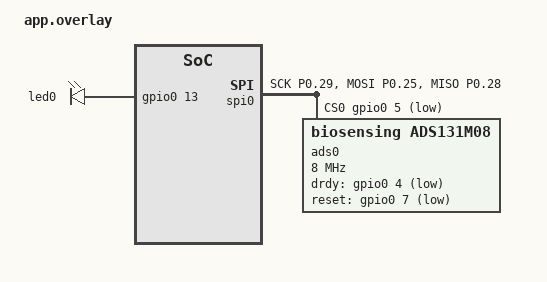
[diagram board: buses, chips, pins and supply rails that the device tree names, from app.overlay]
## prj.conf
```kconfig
# bt832a_min: minimal preset. This is the complete configuration.
# Select nrf52dk/nrf52810 with NCS v3.3.1 and sysbuild.
# No EXTRA_CONF_FILE or other custom build arguments are needed.

CONFIG_GPIO=y
CONFIG_BT=y
CONFIG_BT_PERIPHERAL=y
CONFIG_BT_MAX_CONN=1
CONFIG_LOG=y
CONFIG_LOG_DEFAULT_LEVEL=3
CONFIG_USE_SEGGER_RTT=y
CONFIG_CONSOLE=y
CONFIG_UART_CONSOLE=n
CONFIG_RTT_CONSOLE=y
CONFIG_LOG_BACKEND_UART=n
CONFIG_LOG_BACKEND_RTT=n
CONFIG_SHELL_BACKEND_SERIAL=n
CONFIG_SHELL_VT100_COLORS=n
CONFIG_SHELL_CMDS_RESIZE=n
CONFIG_REBOOT=y
CONFIG_SERIAL=n
# Modules do not require an external 32.768 kHz crystal for bring-up.
CONFIG_CLOCK_CONTROL_NRF_K32SRC_RC=y
CONFIG_CLOCK_CONTROL_NRF_K32SRC_XTAL=n

# Historical nrf52832A directory actually selected nRF52810 (192K/24K).
CONFIG_BIO_PROFILE="BT832A / nRF52810 legacy"
CONFIG_BT_DEVICE_NAME="BT832A-v3"
CONFIG_SHELL=n
CONFIG_SHELL_BACKEND_RTT=n
CONFIG_BIO_TX_DEPTH=2
CONFIG_BIO_COMMAND_DEPTH=2
CONFIG_BIO_REPLY_DEPTH=1
CONFIG_BIO_ADS_STACK=1024
CONFIG_BT_RX_STACK_SIZE=1024
CONFIG_MAIN_STACK_SIZE=1536
CONFIG_SYSTEM_WORKQUEUE_STACK_SIZE=1536
CONFIG_BT_RECV_WORKQ_SYS=y
CONFIG_LOG_MODE_MINIMAL=y
CONFIG_SEGGER_RTT_BUFFER_SIZE_UP=256
CONFIG_ISR_STACK_SIZE=1024
# Small ATT buffers: use the framed stream, not the 227-byte legacy notification.
CONFIG_BT_L2CAP_TX_MTU=64
CONFIG_BT_BUF_ACL_RX_SIZE=68
CONFIG_BT_BUF_ACL_TX_SIZE=68
CONFIG_BT_BUF_EVT_RX_COUNT=3
CONFIG_BT_BUF_EVT_DISCARDABLE_COUNT=1
CONFIG_BT_BUF_ACL_TX_COUNT=1
CONFIG_BT_L2CAP_TX_BUF_COUNT=2
CONFIG_BT_L2CAP_TX_FRAG_COUNT=1
CONFIG_BT_ATT_TX_COUNT=1
CONFIG_BT_CTLR_SDC_TX_PACKET_COUNT=1
CONFIG_BT_CTLR_SDC_RX_PACKET_COUNT=1
CONFIG_HEAP_MEM_POOL_SIZE=512
CONFIG_SIZE_OPTIMIZATIONS=y

# Built-in minimal feature.
CONFIG_BIO_ADS=n
CONFIG_BIO_I2C_SENSORS=n
CONFIG_BIO_BEACONS=n
```

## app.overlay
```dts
// bt832a_min: complete carrier overlay; automatically loaded by Zephyr.
#include <zephyr/dt-bindings/gpio/gpio.h>
#include <zephyr/dt-bindings/pinctrl/nrf-pinctrl.h>
/ { aliases { bio-led = &led0; ads0 = &ads0; }; };
&led0 { gpios = <&gpio0 13 GPIO_ACTIVE_HIGH>; };
&led1 { status = "disabled"; };
&led2 { status = "disabled"; };
&led3 { status = "disabled"; };
&button0 { status = "disabled"; };
&button1 { status = "disabled"; };
&button2 { status = "disabled"; };
&button3 { status = "disabled"; };
&uart0 { status = "disabled"; };
&i2c0 { status = "disabled"; };
&adc { status = "disabled"; };
&gpio0 { /delete-property/ gpio-reserved-ranges; };
&spi0 {
	// Polling SPI also works on nRF52810, which has no SPIM EasyDMA.
	compatible = "nordic,nrf-spi";
	status = "okay";
	pinctrl-0 = <&bio_spi_default>;
	pinctrl-1 = <&bio_spi_sleep>;
	pinctrl-names = "default", "sleep";
	cs-gpios = <&gpio0 5 GPIO_ACTIVE_LOW>;
	ads0: adc@0 {
		compatible = "biosensing,ads131m08";
		reg = <0>;
		spi-max-frequency = <8000000>;
		drdy-gpios = <&gpio0 4 (GPIO_ACTIVE_LOW | GPIO_PULL_UP)>;
		reset-gpios = <&gpio0 7 GPIO_ACTIVE_LOW>;
	};
};
&pinctrl {
	bio_spi_default: bio_spi_default { group1 { psels = <NRF_PSEL(SPIM_SCK, 0, 29)>, <NRF_PSEL(SPIM_MOSI, 0, 25)>, <NRF_PSEL(SPIM_MISO, 0, 28)>; }; };
	bio_spi_sleep: bio_spi_sleep { group1 { psels = <NRF_PSEL(SPIM_SCK, 0, 29)>, <NRF_PSEL(SPIM_MOSI, 0, 25)>, <NRF_PSEL(SPIM_MISO, 0, 28)>; low-power-enable; }; };
};
```

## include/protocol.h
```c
#ifndef BIO_PROTOCOL_H
#define BIO_PROTOCOL_H
#include <stdbool.h>
#include <stddef.h>
#include <stdint.h>
#define BIO_COMMAND_MAX 128
#define BIO_PACKET_MAX 244
#define BIO_FRAME_HEADER 8
enum bio_sensor { BIO_RESPONSE = 0, BIO_ADS0 = 2, BIO_ADS1 = 3,
	BIO_MPU = 4, BIO_MAX = 5, BIO_BME = 6, BIO_QMC = 7,
	BIO_PCM = 8, BIO_BEACON = 9, BIO_UART = 10 };
enum bio_operation { BIO_HELP, BIO_STATUS, BIO_SAMPLE, BIO_ADS_READ,
	BIO_ADS_WRITE, BIO_ADS_GAIN, BIO_ADS_RATE, BIO_LED, BIO_SCAN,
	BIO_AUDIO, BIO_MIC, BIO_UART_SEND, BIO_STATS };
struct bio_command { enum bio_operation op; unsigned id, value, reg; bool enable;
	char text[BIO_COMMAND_MAX]; };
int bio_parse(const char *line, struct bio_command *cmd);
int bio_parse_legacy(const uint8_t *data, size_t len, struct bio_command *cmd);
size_t bio_frame(uint8_t *out, size_t capacity, uint8_t sensor, uint16_t seq,
	const uint8_t *data, size_t total, size_t offset);
#endif
```

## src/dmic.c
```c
#include "bio.h"
#include <zephyr/audio/dmic.h>
#include <zephyr/logging/log.h>
LOG_MODULE_REGISTER(bio_dmic, LOG_LEVEL_INF);
static const struct device *const microphone = DEVICE_DT_GET(DT_NODELABEL(pdm0));
// 5 ms * 16000 samples/s * 2 bytes; each block fits one application packet.
#define PCM_BYTES 160
K_MEM_SLAB_DEFINE(pcm_slab, PCM_BYTES, 4, 4);
K_SEM_DEFINE(mic_wake, 0, 1);
static atomic_t requested, active;
static void mic_worker(void *a, void *b, void *c)
{
	while (true) {
		k_sem_take(&mic_wake, K_FOREVER);
		if (!atomic_get(&requested)) { continue; }
		struct pcm_stream_cfg stream = { .pcm_rate = 16000, .pcm_width = 16,
			.block_size = PCM_BYTES, .mem_slab = &pcm_slab };
		struct dmic_cfg cfg = {
			.io = { .min_pdm_clk_freq = 1000000, .max_pdm_clk_freq = 3500000,
				.min_pdm_clk_dc = 40, .max_pdm_clk_dc = 60 },
			.streams = &stream,
			.channel = { .req_num_streams = 1, .req_num_chan = 1,
				.req_chan_map_lo = dmic_build_channel_map(0, 0, PDM_CHAN_LEFT) },
		};
		int err = dmic_configure(microphone, &cfg);
		if (!err) { err = dmic_trigger(microphone, DMIC_TRIGGER_START); }
		atomic_set(&active, !err);
		while (!err && atomic_get(&requested)) {
			void *block = NULL; size_t size = 0;
			err = dmic_read(microphone, 0, &block, &size, 100);
			if (!err) {
				if (size <= BIO_PACKET_MAX) { bio_publish(BIO_PCM, block, size); }
				k_mem_slab_free(&pcm_slab, block);
			}
		}
		(void)dmic_trigger(microphone, DMIC_TRIGGER_STOP);
		atomic_clear(&active);
		// Return completed-but-unread blocks before another start.
		void *block; size_t size;
		while (!dmic_read(microphone, 0, &block, &size, 0)) { k_mem_slab_free(&pcm_slab, block); }
		if (err) { atomic_clear(&requested); LOG_ERR("DMIC stopped: %d", err); }
	}
}
K_THREAD_DEFINE(mic_thread, 1536, mic_worker, NULL, NULL, NULL, 5, 0, 0);
int bio_dmic_set(bool enable)
{
	if (!device_is_ready(microphone)) { return -ENODEV; }
	atomic_set(&requested, enable);
	if (enable) { k_sem_give(&mic_wake); }
	return 0;
}
bool bio_dmic_ready(void) { return device_is_ready(microphone); }
bool bio_dmic_running(void) { return atomic_get(&active) != 0; }
```
